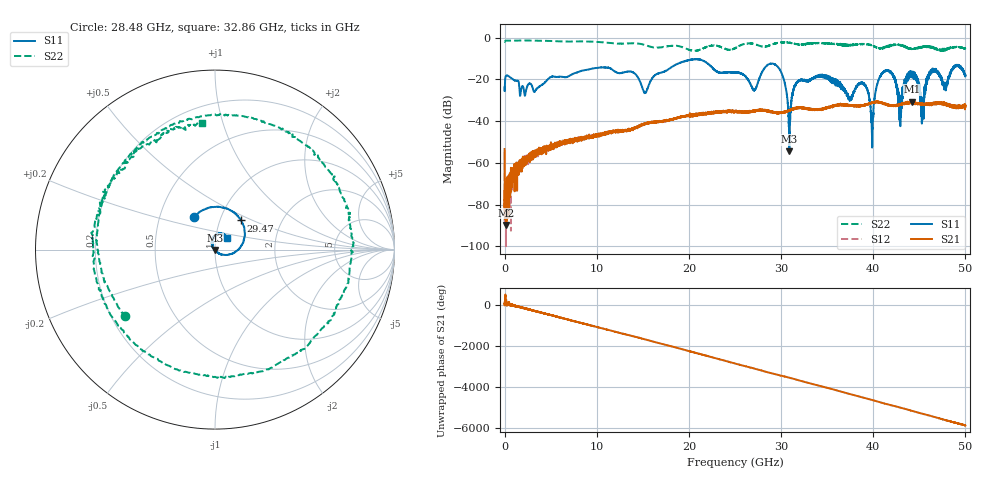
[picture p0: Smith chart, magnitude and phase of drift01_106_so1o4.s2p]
!Created with skrf (http://scikit-rf.org).
# Hz S RI R 50.0
!freq ReS11 ImS11 ReS21 ImS21 ReS12 ImS12 ReS22 ImS22
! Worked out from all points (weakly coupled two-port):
!   10001 points, 300 kHz to 50 GHz, reference 50 ohm
!   highest |S21| = -30.61 dB at 44.26 GHz (marker M1); lowest = -89.8 dB at 175.3 MHz (marker M2)
!   lowest |S11| = -54.5 dB at 30.89 GHz (marker M3), VSWR 1.00, Z = 50 - j0.184 ohm
!   |S11| at or under -10 dB: start of sweep to end of sweep
!   |S22| runs from -6.4 to -1.4 dB; largest |S21 - S12| = 0.004
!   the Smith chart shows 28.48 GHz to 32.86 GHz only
!   S11 on the Smith chart (normalised r, x): 28.48 GHz: 0.75, +0.29; 29.47 GHz: 1.26, +0.43; 32.86 GHz: 1.14, +0.15
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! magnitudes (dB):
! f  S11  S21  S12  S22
! 300 kHz  -23.8  -53.4  -55.2  -2.1
! 175.3 MHz  -18.2  -89.8  -73.3  -1.4
! 8.335 GHz  -16.0  -48.6  -49.1  -1.8
! 15.24 GHz  -26.4  -41.7  -41.6  -3.6
! 16.67 GHz  -17.1  -40.1  -40.4  -4.8
! 25 GHz  -16.7  -35.3  -35.4  -5.1
! 27.1 GHz  -25.3  -35.1  -35.2  -3.1
! 28.48 GHz  -13.3  -35.0  -35.2  -4.1
! 29.47 GHz  -13.2  -35.7  -36.0  -2.7
! 30.89 GHz  -54.5  -34.8  -34.9  -2.5
! 31.61 GHz  -22.1  -33.8  -33.8  -3.0
! 32.86 GHz  -20.3  -34.4  -34.2  -3.0
! 33.34 GHz  -19.7  -34.4  -34.4  -2.7
! 38.91 GHz  -22.0  -32.5  -32.5  -3.0
! 39.88 GHz  -50.1  -31.2  -31.2  -3.7
! 40.61 GHz  -20.0  -30.7  -31.0  -5.0
! 41.67 GHz  -16.0  -32.2  -32.3  -4.0
! 42.94 GHz  -34.1  -32.2  -32.1  -3.6
! 44.26 GHz  -17.6  -30.6  -31.1  -5.4
! 45.3 GHz  -38.0  -31.5  -31.7  -4.5
! 46.42 GHz  -15.7  -31.9  -31.9  -4.6
! 50 GHz  -17.9  -32.7  -32.8  -5.4
